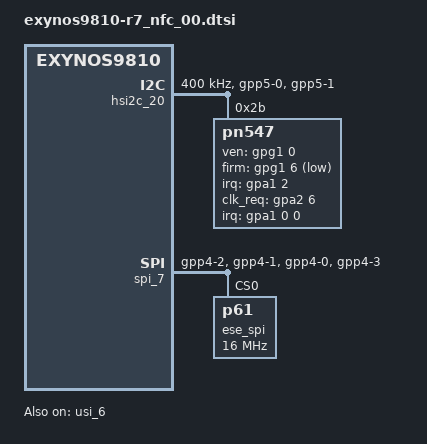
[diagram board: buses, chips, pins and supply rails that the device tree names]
/* Copyright (c) 2013, Samsung Electronics Corporation. All rights reserved.
 *
 * This program is free software; you can redistribute it and/or modify
 * it under the terms of the GNU General Public License version 2 and
 * only version 2 as published by the Free Software Foundation.
 *
 * This program is distributed in the hope that it will be useful,
 * but WITHOUT ANY WARRANTY; without even the implied warranty of
 * MERCHANTABILITY or FITNESS FOR A PARTICULAR PURPOSE.  See the
 * GNU General Public License for more details.
 */

&pinctrl_0 {
	nfc_clk_req: nfc_clk_req {
		samsung,pins = "gpa2-6";
		samsung,pin-pud = <0>;
	};
	ese_check: ese_check {
		samsung,pins = "gpa3-1";
		samsung,pin-function = <0>;
		samsung,pin-pud = <0>;
		samsung,pin-pud-pdn = <0>;
	};
};

&pinctrl_6 {
	nfc_firm: nfc_firm {
		samsung,pins = "gpg1-6";
		samsung,pin-function = <0>;
		samsung,pin-pud = <0>;
		samsung,pin-val = <0>;
		samsung,pin-con-pdn = <3>;
		samsung,pin-pud-pdn = <0>;
	};

	nfc_en: nfc_en {
		samsung,pins = "gpg1-0";
		samsung,pin-function = <1>;
		samsung,pin-pud = <0>;
		samsung,pin-drv = <0>;
		samsung,pin-con-pdn = <3>;
		samsung,pin-pud-pdn = <0>;
	};

	ese_pwr: ese_pwr {
		samsung,pins = "gpg0-4";
		samsung,pin-function = <1>;
		samsung,pin-pud = <0>;
		samsung,pin-drv = <0>;
		samsung,pin-con-pdn = <3>;
		samsung,pin-pud-pdn = <0>;
	};
};

&pinctrl_7 {
	/* PERIC1 USI08 */
	hsi2c20_nfc: hsi2c20-nfc {
		samsung,pins = "gpp5-0", "gpp5-1";
		samsung,pin-function = <2>;
		samsung,pin-pud = <0>;
		samsung,pin-drv = <0>;
		samsung,pin-con-pdn = <2>;
		samsung,pin-pud-pdn = <0>;
	};
};

/* USI08_USI */
&hsi2c_20 {
	#address-cells = <1>;
	#size-cells = <0>;
	status = "okay";
	clock-frequency = <400000>;
	samsung,reset-before-trans;
	pinctrl-names = "default";
	pinctrl-0 = <&hsi2c20_nfc>;

	pn547@2B {
		compatible = "pn547";
		reg = <0x2B>;

		interrupts = <0 0 0>;
		interrupt-parent = <&gpa1>;

		pn547,ven-gpio = <&gpg1 0 0>;
		pn547,firm-gpio = <&gpg1 6 1>;
		pn547,irq-gpio = <&gpa1 2 0>;
		pn547,clk_req-gpio = <&gpa2 6 0>;
		pn547,pwr_req = <&gpg0 4 0>;

		pn547,ldo_control;
		pn547,nfc_pvdd = "vdd_ldo40";

		clocks = <&clock OSC_NFC>;
		clock-names = "oscclk_nfc";
		pn547,nfc_ap_clk;

		pinctrl-names = "default";
		pinctrl-0 = <&nfc_en &nfc_firm &nfc_clk_req &ese_pwr>;
	};
};

&pinctrl_7 {
	/* PERIC1 USI06_SPI */
	spi7_bus: spi7-bus {
		samsung,pins = "gpp4-2", "gpp4-1", "gpp4-0";
		samsung,pin-function = <2>;
		samsung,pin-pud = <0>;
		samsung,pin-drv = <0>;
	};

	spi7_cs: spi7-cs {
		samsung,pins = "gpp4-3";
		samsung,pin-function = <2>;
		samsung,pin-pud = <0>;
		samsung,pin-drv = <0>;
	};
	
	spi7_bus_suspend: spi7-bus-suspend {
		samsung,pins = "gpp4-2", "gpp4-1", "gpp4-0";
		samsung,pin-function = <1>;	/* OUT */
		samsung,pin-pud = <1>;		/* DOWN */
		samsung,pin-drv = <0>;
		samsung,pin-val = <0>;
	};

	spi7_cs_suspend: spi7-cs-suspend {
		samsung,pins = "gpp4-3";
		samsung,pin-function = <1>;	/* OUT */
		samsung,pin-pud = <1>;		/* DOWN */
		samsung,pin-drv = <0>;
		samsung,pin-val = <0>;
	};
};

/* USI_06 */
&usi_6 {
	usi_mode_v2 = "spi";
	status = "ok";
};

/* SPI USI_PERIC1_USI06_SPI */
&spi_7 {
	status = "okay";
	/delete-property/ pinctrl-names;
	/delete-property/ pinctrl-0;

	pinctrl-names = "ese_on", "ese_off";
	pinctrl-0 = <&spi7_bus &spi7_cs>;
	pinctrl-1 = <&spi7_bus_suspend &spi7_cs_suspend>;

	ese_spi@0 {
		compatible = "p61";
		reg = <0>;
		spi-max-frequency = <16000000>;
		p61-ap_vendor = "slsi";
		p61-spi_node = <&spi_7>;
		p61-check_ese = <&gpa3 1 0>;
		gpio-controller;
		#gpio-cells = <2>;

		pinctrl-names = "default";
		pinctrl-0 = <&ese_check>;

		controller-data {
			samsung,spi-feedback-delay = <0>;
			samsung,spi-chip-select-mode = <0>;
		};
	};
};
